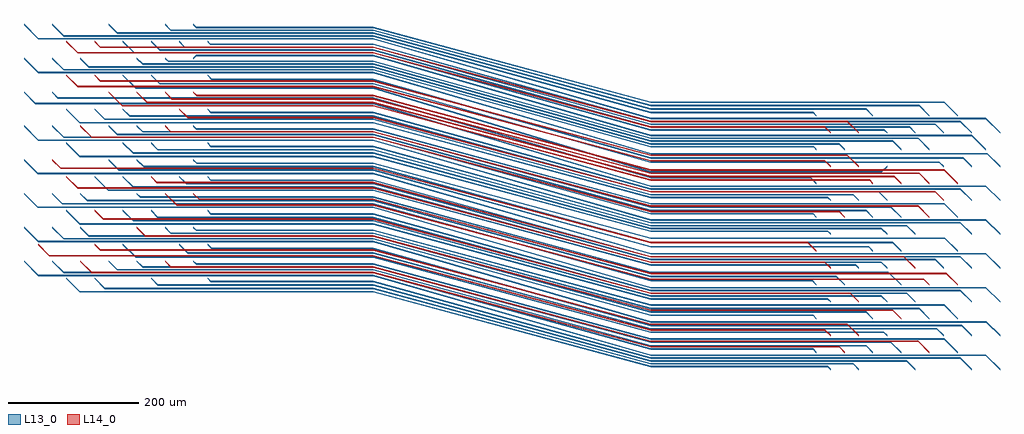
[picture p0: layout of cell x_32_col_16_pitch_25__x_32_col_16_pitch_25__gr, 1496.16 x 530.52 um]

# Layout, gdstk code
import gdstk
lib = gdstk.Library(unit=1e-6, precision=1e-09)
def R(c, l, rs):  # rectangles x0, y0, x1, y1
    for r in rs: c.add(gdstk.rectangle(r[:2], r[2:], *l))
def A(c, l, x, y, w, h, nx, ny, dx, dy):  # array of equal rectangles
    R(c, l, [(x+i*dx, y+j*dy, x+i*dx+w, y+j*dy+h) for i in range(nx) for j in range(ny)])
def P(c, l, *ps):  # polygons
    for p in ps: c.add(gdstk.Polygon(p, *l))
L13_0 = (13, 0)
L14_0 = (14, 0)

x_32_col_16_pitch_25__x_ = lib.new_cell('x_32_col_16_pitch_25__x_32_col_16_pitch_25__gr')
A(x_32_col_16_pitch_25__x_, L13_0, 2300, 1351.56, 271.46, 2, 1, 3, 0, 103.68)
A(x_32_col_16_pitch_25__x_, L13_0, 2300, 1360.2, 392.72, 2, 1, 3, 0, 103.68)
A(x_32_col_16_pitch_25__x_, L13_0, 2300, 1430.184, 248.946, 2, 1, 3, 0, 155.52)
A(x_32_col_16_pitch_25__x_, L13_0, 2300, 1435.368, 330.362, 2, 1, 3, 0, 155.52)
A(x_32_col_16_pitch_25__x_, L13_0, 2300, 1445.736, 449.894, 2, 1, 3, 0, 155.52)
A(x_32_col_16_pitch_25__x_, L13_0, 2300, 1459.56, 353.74, 2, 1, 3, 0, 51.84)
A(x_32_col_16_pitch_25__x_, L13_0, 1425.106, 1466.224, 449.894, 2, 1, 3, 0, 103.68)
A(x_32_col_16_pitch_25__x_, L13_0, 2300, 1468.2, 475, 2, 1, 4, 0, 51.84)
A(x_32_col_16_pitch_25__x_, L13_0, 2300, 1472.52, 513.982, 2, 1, 4, 0, 51.84)
A(x_32_col_16_pitch_25__x_, L13_0, 1544.638, 1476.592, 330.362, 2, 1, 3, 0, 103.68)
A(x_32_col_16_pitch_25__x_, L13_0, 1506.522, 1575.088, 368.478, 2, 1, 3, 0, 51.84)
A(x_32_col_16_pitch_25__x_, L13_0, 1626.054, 1585.456, 248.946, 2, 1, 4, 0, 51.84)
R(x_32_col_16_pitch_25__x_, L13_0, [(2300,1355.88,2610.44,1357.88), (2300,1364.52,2775,1366.52), (2300,1368.84,2813.982,1370.84), (2300,1378.344,2548.946,1380.344), (2300,1383.528,2630.362,1385.528), (2300,1388.712,2668.478,1390.712), (2300,1393.896,2749.894,1395.896), (2300,1404.264,2657.196,1406.264), (2300,1409.448,2738.612,1411.448), (2300,1414.632,2776.728,1416.632), (2300,1419.816,2814.846,1421.816), (2300,1440.552,2711.778,1442.552), (1463.222,1471.408,1875,1473.408), (1626.054,1481.776,1875,1483.776), (2300,1483.32,2547.65,1485.32), (2300,1489.8,2584.47,1491.8), (1361.017,1491.28,1875,1493.28), (1400,1495.6,1875,1497.6), (2300,1496.28,2664.59,1498.28), (1482.28,1499.92,1875,1501.92), (1521.26,1504.24,1875,1506.24), (2300,1507.08,2614.76,1509.08), (1603.54,1508.56,1875,1510.56), (2300,1515.72,2736.02,1517.72), (1510.41,1519.36,1875,1521.36), (1590.53,1525.84,1875,1527.84), (1627.35,1532.32,1875,1534.32), (2300,1535.16,2634.25,1537.16), (2300,1541.64,2671.07,1543.64), (1361.017,1543.12,1875,1545.12), (1400,1547.44,1875,1549.44), (2300,1548.12,2751.19,1550.12), (1438.98,1551.76,1875,1553.76), (1564.56,1556.08,1875,1558.08), (1603.54,1560.4,1875,1562.4), (1360.153,1595.824,1875,1597.824), (2300,1596.072,2668.478,1598.072), (1398.272,1601.008,1875,1603.008), (1436.388,1606.192,1875,1608.192), (2300,1610.76,2571.46,1612.76), (1517.804,1611.376,1875,1613.376), (2300,1615.08,2610.44,1617.08), (2300,1619.4,2649.42,1621.4), (1468.406,1621.744,1875,1623.744), (1587.938,1632.112,1875,1634.112), (2300,1641,2545.49,1643), (1360.153,1647.664,1875,1649.664), (2300,1649.64,2653.74,1651.64), (1484.872,1652.848,1875,1654.848), (1522.988,1658.032,1875,1660.032), (1604.404,1663.216,1875,1665.216), (2300,1664.76,2742.5,1666.76), (2300,1671.24,2779.32,1673.24), (2300,1677.72,2816.142,1679.72), (2300,1688.52,2549.81,1690.52), (2300,1692.84,2588.79,1694.84), (2300,1697.16,2671.07,1699.16), (1361.017,1698.64,1875,1700.64), (2300,1701.48,2710.05,1703.48), (1400,1702.96,1875,1704.96), (2300,1705.8,2792.332,1707.8), (1482.28,1707.28,1875,1709.28), (1521.26,1711.6,1875,1713.6), (2300,1714.44,2658.06,1716.44), (1603.54,1715.92,1875,1717.92), (2300,1718.76,2697.04,1720.76), (2300,1723.08,2736.02,1725.08), (1425.106,1725.424,1875,1727.424), (2300,1727.4,2775,1729.4), (1463.222,1730.608,1875,1732.608), (2300,1731.72,2813.982,1733.72), (1501.338,1735.792,1875,1737.792), (2300,1751.592,2711.778,1753.592), (1356.697,1754.8,1875,1756.8), (1391.36,1763.44,1875,1765.44), (1510.41,1778.56,1875,1780.56), (1547.23,1785.04,1875,1787.04), (1627.35,1791.52,1875,1793.52), (1361.017,1802.32,1875,1804.32), (1400,1806.64,1875,1808.64), (1438.98,1810.96,1875,1812.96), (1521.26,1815.28,1875,1817.28), (1560.24,1819.6,1875,1821.6), (1603.54,1828.24,1875,1830.24), (1508.25,1832.56,1875,1834.56), (1547.23,1836.88,1875,1838.88), (1586.21,1841.2,1875,1843.2), (1625.19,1845.52,1875,1847.52), (1361.017,1854.16,1875,1856.16), (1400,1858.48,1875,1860.48), (1482.28,1862.8,1875,1864.8), (1564.56,1867.12,1875,1869.12), (1603.54,1871.44,1875,1873.44)])
P(x_32_col_16_pitch_25__x_, L13_0, [(2554.13,1736.04),(2554.13,1738.04),(2548.946,1743.224),(2548.946,1741.224)],
  [(2300,1741.224),(2300,1743.224),(1875,1860.48),(1875,1858.48)],
  [(1400,1858.48),(1400,1860.48),(1382.72,1877.76),(1382.72,1875.76)],
  [(2640.73,1736.04),(2640.73,1738.04),(2630.362,1748.408),(2630.362,1746.408)],
  [(2300,1746.408),(2300,1748.408),(1875,1864.8),(1875,1862.8)],
  [(1482.28,1862.8),(1482.28,1864.8),(1469.32,1877.76),(1469.32,1875.76)],
  [(2727.33,1736.04),(2727.33,1738.04),(2711.778,1753.592),(2711.778,1751.592)],
  [(2300,1751.592),(2300,1753.592),(1875,1869.12),(1875,1867.12)],
  [(1564.56,1867.12),(1564.56,1869.12),(1555.92,1877.76),(1555.92,1875.76)],
  [(2770.63,1736.04),(2770.63,1738.04),(2749.894,1758.776),(2749.894,1756.776)],
  [(2300,1756.776),(2300,1758.776),(1875,1873.44),(1875,1871.44)],
  [(1603.54,1871.44),(1603.54,1873.44),(1599.22,1877.76),(1599.22,1875.76)],
  [(2662.38,1710.12),(2662.38,1712.12),(2658.06,1716.44),(2658.06,1714.44)],
  [(2300,1714.44),(2300,1716.44),(1875,1834.56),(1875,1832.56)],
  [(1508.25,1832.56),(1508.25,1834.56),(1490.97,1851.84),(1490.97,1849.84)],
  [(2705.68,1710.12),(2705.68,1712.12),(2697.04,1720.76),(2697.04,1718.76)],
  [(2300,1718.76),(2300,1720.76),(1875,1838.88),(1875,1836.88)],
  [(1547.23,1836.88),(1547.23,1838.88),(1534.27,1851.84),(1534.27,1849.84)],
  [(2748.98,1710.12),(2748.98,1712.12),(2736.02,1725.08),(2736.02,1723.08)],
  [(2300,1723.08),(2300,1725.08),(1875,1843.2),(1875,1841.2)],
  [(1586.21,1841.2),(1586.21,1843.2),(1577.57,1851.84),(1577.57,1849.84)],
  [(2792.28,1710.12),(2792.28,1712.12),(2775,1729.4),(2775,1727.4)],
  [(2300,1727.4),(2300,1729.4),(1875,1847.52),(1875,1845.52)],
  [(1625.19,1845.52),(1625.19,1847.52),(1620.87,1851.84),(1620.87,1849.84)],
  [(2835.582,1710.12),(2835.582,1712.12),(2813.982,1733.72),(2813.982,1731.72)],
  [(2300,1731.72),(2300,1733.72),(1875,1856.16),(1875,1854.16)],
  [(1361.017,1854.16),(1361.017,1856.16),(1339.417,1877.76),(1339.417,1875.76)],
  [(2554.13,1684.2),(2554.13,1686.2),(2549.81,1690.52),(2549.81,1688.52)],
  [(2300,1688.52),(2300,1690.52),(1875,1808.64),(1875,1806.64)],
  [(1400,1806.64),(1400,1808.64),(1382.72,1825.92),(1382.72,1823.92)],
  [(2597.43,1684.2),(2597.43,1686.2),(2588.79,1694.84),(2588.79,1692.84)],
  [(2300,1692.84),(2300,1694.84),(1875,1812.96),(1875,1810.96)],
  [(1438.98,1810.96),(1438.98,1812.96),(1426.02,1825.92),(1426.02,1823.92)],
  [(2684.03,1684.2),(2684.03,1686.2),(2671.07,1699.16),(2671.07,1697.16)],
  [(2300,1697.16),(2300,1699.16),(1875,1817.28),(1875,1815.28)],
  [(1521.26,1815.28),(1521.26,1817.28),(1512.62,1825.92),(1512.62,1823.92)],
  [(2727.33,1684.2),(2727.33,1686.2),(2710.05,1703.48),(2710.05,1701.48)],
  [(2300,1701.48),(2300,1703.48),(1875,1821.6),(1875,1819.6)],
  [(1560.24,1819.6),(1560.24,1821.6),(1555.92,1825.92),(1555.92,1823.92)],
  [(2813.932,1684.2),(2813.932,1686.2),(2792.332,1707.8),(2792.332,1705.8)],
  [(2300,1705.8),(2300,1707.8),(1875,1830.24),(1875,1828.24)],
  [(1603.54,1828.24),(1603.54,1830.24),(1599.22,1825.92),(1599.22,1823.92)],
  [(2662.38,1658.28),(2662.38,1660.28),(2653.74,1651.64),(2653.74,1649.64)],
  [(2300,1649.64),(2300,1651.64),(1875,1780.56),(1875,1778.56)],
  [(1510.41,1778.56),(1510.41,1780.56),(1490.97,1800),(1490.97,1798)],
  [(2748.98,1658.28),(2748.98,1660.28),(2742.5,1666.76),(2742.5,1664.76)],
  [(2300,1664.76),(2300,1666.76),(1875,1787.04),(1875,1785.04)],
  [(1547.23,1785.04),(1547.23,1787.04),(1534.27,1800),(1534.27,1798)],
  [(2792.28,1658.28),(2792.28,1660.28),(2779.32,1673.24),(2779.32,1671.24)],
  [(2300,1671.24),(2300,1673.24),(1875,1793.52),(1875,1791.52)],
  [(1627.35,1791.52),(1627.35,1793.52),(1620.87,1800),(1620.87,1798)],
  [(2835.582,1658.28),(2835.582,1660.28),(2816.142,1679.72),(2816.142,1677.72)],
  [(2300,1677.72),(2300,1679.72),(1875,1804.32),(1875,1802.32)],
  [(1361.017,1802.32),(1361.017,1804.32),(1339.417,1825.92),(1339.417,1823.92)],
  [(2554.13,1632.36),(2554.13,1634.36),(2545.49,1643),(2545.49,1641)],
  [(2300,1641),(2300,1643),(1875,1765.44),(1875,1763.44)],
  [(1391.36,1763.44),(1391.36,1765.44),(1382.72,1774.08),(1382.72,1772.08)],
  [(2575.78,1606.44),(2575.78,1608.44),(2571.46,1612.76),(2571.46,1610.76)],
  [(2300,1610.76),(2300,1612.76),(1875,1727.424),(1875,1725.424)],
  [(1425.106,1725.424),(1425.106,1727.424),(1404.37,1748.16),(1404.37,1746.16)],
  [(2619.08,1606.44),(2619.08,1608.44),(2610.44,1617.08),(2610.44,1615.08)],
  [(2300,1615.08),(2300,1617.08),(1875,1732.608),(1875,1730.608)],
  [(1463.222,1730.608),(1463.222,1732.608),(1447.67,1748.16),(1447.67,1746.16)],
  [(2662.38,1606.44),(2662.38,1608.44),(2649.42,1621.4),(2649.42,1619.4)],
  [(2300,1619.4),(2300,1621.4),(1875,1737.792),(1875,1735.792)],
  [(1501.338,1735.792),(1501.338,1737.792),(1490.97,1748.16),(1490.97,1746.16)],
  [(2792.28,1606.44),(2792.28,1608.44),(2775,1625.72),(2775,1623.72)],
  [(2300,1623.72),(2300,1625.72),(1875,1742.976),(1875,1740.976)],
  [(1626.054,1740.976),(1626.054,1742.976),(1620.87,1748.16),(1620.87,1746.16)],
  [(2835.582,1606.44),(2835.582,1608.44),(2813.982,1630.04),(2813.982,1628.04)],
  [(2300,1628.04),(2300,1630.04),(1875,1756.8),(1875,1754.8)],
  [(1356.697,1754.8),(1356.697,1756.8),(1339.417,1774.08),(1339.417,1772.08)],
  [(2554.13,1580.52),(2554.13,1582.52),(2548.946,1587.704),(2548.946,1585.704)],
  [(2300,1585.704),(2300,1587.704),(1875,1704.96),(1875,1702.96)],
  [(1400,1702.96),(1400,1704.96),(1382.72,1722.24),(1382.72,1720.24)],
  [(2640.73,1580.52),(2640.73,1582.52),(2630.362,1592.888),(2630.362,1590.888)],
  [(2300,1590.888),(2300,1592.888),(1875,1709.28),(1875,1707.28)],
  [(1482.28,1707.28),(1482.28,1709.28),(1469.32,1722.24),(1469.32,1720.24)],
  [(2684.03,1580.52),(2684.03,1582.52),(2668.478,1598.072),(2668.478,1596.072)],
  [(2300,1596.072),(2300,1598.072),(1875,1713.6),(1875,1711.6)],
  [(1521.26,1711.6),(1521.26,1713.6),(1512.62,1722.24),(1512.62,1720.24)],
  [(2770.63,1580.52),(2770.63,1582.52),(2749.894,1603.256),(2749.894,1601.256)],
  [(2300,1601.256),(2300,1603.256),(1875,1717.92),(1875,1715.92)],
  [(1603.54,1715.92),(1603.54,1717.92),(1599.22,1722.24),(1599.22,1720.24)],
  [(2575.78,1554.6),(2575.78,1556.6),(2571.46,1560.92),(2571.46,1558.92)],
  [(2300,1558.92),(2300,1560.92),(1875,1675.584),(1875,1673.584)],
  [(1425.106,1673.584),(1425.106,1675.584),(1404.37,1696.32),(1404.37,1694.32)],
  [(2662.38,1554.6),(2662.38,1556.6),(2653.74,1565.24),(2653.74,1563.24)],
  [(2300,1563.24),(2300,1565.24),(1875,1680.768),(1875,1678.768)],
  [(1506.522,1678.768),(1506.522,1680.768),(1490.97,1696.32),(1490.97,1694.32)],
  [(2705.68,1554.6),(2705.68,1556.6),(2692.72,1569.56),(2692.72,1567.56)],
  [(2300,1567.56),(2300,1569.56),(1875,1685.952),(1875,1683.952)],
  [(1544.638,1683.952),(1544.638,1685.952),(1534.27,1696.32),(1534.27,1694.32)],
  [(2792.28,1554.6),(2792.28,1556.6),(2775,1573.88),(2775,1571.88)],
  [(2300,1571.88),(2300,1573.88),(1875,1691.136),(1875,1689.136)],
  [(1626.054,1689.136),(1626.054,1691.136),(1620.87,1696.32),(1620.87,1694.32)],
  [(2835.582,1554.6),(2835.582,1556.6),(2813.982,1578.2),(2813.982,1576.2)],
  [(2300,1576.2),(2300,1578.2),(1875,1700.64),(1875,1698.64)],
  [(1361.017,1698.64),(1361.017,1700.64),(1339.417,1722.24),(1339.417,1720.24)],
  [(2640.73,1528.68),(2640.73,1530.68),(2634.25,1537.16),(2634.25,1535.16)],
  [(2300,1535.16),(2300,1537.16),(1875,1654.848),(1875,1652.848)],
  [(1484.872,1652.848),(1484.872,1654.848),(1469.32,1670.4),(1469.32,1668.4)],
  [(2684.03,1528.68),(2684.03,1530.68),(2671.07,1543.64),(2671.07,1541.64)],
  [(2300,1541.64),(2300,1543.64),(1875,1660.032),(1875,1658.032)],
  [(1522.988,1658.032),(1522.988,1660.032),(1512.62,1670.4),(1512.62,1668.4)],
  [(2770.63,1528.68),(2770.63,1530.68),(2751.19,1550.12),(2751.19,1548.12)],
  [(2300,1548.12),(2300,1550.12),(1875,1665.216),(1875,1663.216)],
  [(1604.404,1663.216),(1604.404,1665.216),(1599.22,1670.4),(1599.22,1668.4)],
  [(2619.08,1502.76),(2619.08,1504.76),(2614.76,1509.08),(2614.76,1507.08)],
  [(2300,1507.08),(2300,1509.08),(1875,1623.744),(1875,1621.744)],
  [(1468.406,1621.744),(1468.406,1623.744),(1447.67,1644.48),(1447.67,1642.48)],
  [(2662.38,1502.76),(2662.38,1504.76),(2653.74,1513.4),(2653.74,1511.4)],
  [(2300,1511.4),(2300,1513.4),(1875,1628.928),(1875,1626.928)],
  [(1506.522,1626.928),(1506.522,1628.928),(1490.97,1644.48),(1490.97,1642.48)],
  [(2748.98,1502.76),(2748.98,1504.76),(2736.02,1517.72),(2736.02,1515.72)],
  [(2300,1515.72),(2300,1517.72),(1875,1634.112),(1875,1632.112)],
  [(1587.938,1632.112),(1587.938,1634.112),(1577.57,1644.48),(1577.57,1642.48)],
  [(2792.28,1502.76),(2792.28,1504.76),(2775,1522.04),(2775,1520.04)],
  [(2300,1520.04),(2300,1522.04),(1875,1639.296),(1875,1637.296)],
  [(1626.054,1637.296),(1626.054,1639.296),(1620.87,1644.48),(1620.87,1642.48)],
  [(2835.582,1502.76),(2835.582,1504.76),(2813.982,1526.36),(2813.982,1524.36)],
  [(2300,1524.36),(2300,1526.36),(1875,1649.664),(1875,1647.664)],
  [(1360.153,1647.664),(1360.153,1649.664),(1339.417,1670.4),(1339.417,1668.4)],
  [(2554.13,1476.84),(2554.13,1478.84),(2547.65,1485.32),(2547.65,1483.32)],
  [(2300,1483.32),(2300,1485.32),(1875,1603.008),(1875,1601.008)],
  [(1398.272,1601.008),(1398.272,1603.008),(1382.72,1618.56),(1382.72,1616.56)],
  [(2597.43,1476.84),(2597.43,1478.84),(2584.47,1491.8),(2584.47,1489.8)],
  [(2300,1489.8),(2300,1491.8),(1875,1608.192),(1875,1606.192)],
  [(1436.388,1606.192),(1436.388,1608.192),(1426.02,1618.56),(1426.02,1616.56)],
  [(2684.03,1476.84),(2684.03,1478.84),(2664.59,1498.28),(2664.59,1496.28)],
  [(2300,1496.28),(2300,1498.28),(1875,1613.376),(1875,1611.376)],
  [(1517.804,1611.376),(1517.804,1613.376),(1512.62,1618.56),(1512.62,1616.56)],
  [(2575.78,1450.92),(2575.78,1452.92),(2571.46,1457.24),(2571.46,1455.24)],
  [(2300,1455.24),(2300,1457.24),(1875,1571.904),(1875,1569.904)],
  [(1425.106,1569.904),(1425.106,1571.904),(1404.37,1592.64),(1404.37,1590.64)],
  [(2662.38,1450.92),(2662.38,1452.92),(2653.74,1461.56),(2653.74,1459.56)],
  [(2300,1459.56),(2300,1461.56),(1875,1577.088),(1875,1575.088)],
  [(1506.522,1575.088),(1506.522,1577.088),(1490.97,1592.64),(1490.97,1590.64)],
  [(2705.68,1450.92),(2705.68,1452.92),(2692.72,1465.88),(2692.72,1463.88)],
  [(2300,1463.88),(2300,1465.88),(1875,1582.272),(1875,1580.272)],
  [(1544.638,1580.272),(1544.638,1582.272),(1534.27,1592.64),(1534.27,1590.64)],
  [(2792.28,1450.92),(2792.28,1452.92),(2775,1470.2),(2775,1468.2)],
  [(2300,1468.2),(2300,1470.2),(1875,1587.456),(1875,1585.456)],
  [(1626.054,1585.456),(1626.054,1587.456),(1620.87,1592.64),(1620.87,1590.64)],
  [(2835.582,1450.92),(2835.582,1452.92),(2813.982,1474.52),(2813.982,1472.52)],
  [(2300,1472.52),(2300,1474.52),(1875,1597.824),(1875,1595.824)],
  [(1360.153,1595.824),(1360.153,1597.824),(1339.417,1618.56),(1339.417,1616.56)],
  [(2554.13,1425),(2554.13,1427),(2548.946,1432.184),(2548.946,1430.184)],
  [(2300,1430.184),(2300,1432.184),(1875,1549.44),(1875,1547.44)],
  [(1400,1547.44),(1400,1549.44),(1382.72,1566.72),(1382.72,1564.72)],
  [(2640.73,1425),(2640.73,1427),(2630.362,1437.368),(2630.362,1435.368)],
  [(2300,1435.368),(2300,1437.368),(1875,1553.76),(1875,1551.76)],
  [(1438.98,1551.76),(1438.98,1553.76),(1426.02,1566.72),(1426.02,1564.72)],
  [(2727.33,1425),(2727.33,1427),(2711.778,1442.552),(2711.778,1440.552)],
  [(2300,1440.552),(2300,1442.552),(1875,1558.08),(1875,1556.08)],
  [(1564.56,1556.08),(1564.56,1558.08),(1555.92,1566.72),(1555.92,1564.72)],
  [(2770.63,1425),(2770.63,1427),(2749.894,1447.736),(2749.894,1445.736)],
  [(2300,1445.736),(2300,1447.736),(1875,1562.4),(1875,1560.4)],
  [(1603.54,1560.4),(1603.54,1562.4),(1599.22,1566.72),(1599.22,1564.72)],
  [(2662.38,1399.08),(2662.38,1401.08),(2657.196,1406.264),(2657.196,1404.264)],
  [(2300,1404.264),(2300,1406.264),(1875,1521.36),(1875,1519.36)],
  [(1510.41,1519.36),(1510.41,1521.36),(1490.97,1540.8),(1490.97,1538.8)],
  [(2748.98,1399.08),(2748.98,1401.08),(2738.612,1411.448),(2738.612,1409.448)],
  [(2300,1409.448),(2300,1411.448),(1875,1527.84),(1875,1525.84)],
  [(1590.53,1525.84),(1590.53,1527.84),(1577.57,1540.8),(1577.57,1538.8)],
  [(2792.28,1399.08),(2792.28,1401.08),(2776.728,1416.632),(2776.728,1414.632)],
  [(2300,1414.632),(2300,1416.632),(1875,1534.32),(1875,1532.32)],
  [(1627.35,1532.32),(1627.35,1534.32),(1620.87,1540.8),(1620.87,1538.8)],
  [(2835.582,1399.08),(2835.582,1401.08),(2814.846,1421.816),(2814.846,1419.816)],
  [(2300,1419.816),(2300,1421.816),(1875,1545.12),(1875,1543.12)],
  [(1361.017,1543.12),(1361.017,1545.12),(1339.417,1566.72),(1339.417,1564.72)],
  [(2554.13,1373.16),(2554.13,1375.16),(2548.946,1380.344),(2548.946,1378.344)],
  [(2300,1378.344),(2300,1380.344),(1875,1497.6),(1875,1495.6)],
  [(1400,1495.6),(1400,1497.6),(1382.72,1514.88),(1382.72,1512.88)],
  [(2640.73,1373.16),(2640.73,1375.16),(2630.362,1385.528),(2630.362,1383.528)],
  [(2300,1383.528),(2300,1385.528),(1875,1501.92),(1875,1499.92)],
  [(1482.28,1499.92),(1482.28,1501.92),(1469.32,1514.88),(1469.32,1512.88)],
  [(2684.03,1373.16),(2684.03,1375.16),(2668.478,1390.712),(2668.478,1388.712)],
  [(2300,1388.712),(2300,1390.712),(1875,1506.24),(1875,1504.24)],
  [(1521.26,1504.24),(1521.26,1506.24),(1512.62,1514.88),(1512.62,1512.88)],
  [(2770.63,1373.16),(2770.63,1375.16),(2749.894,1395.896),(2749.894,1393.896)],
  [(2300,1393.896),(2300,1395.896),(1875,1510.56),(1875,1508.56)],
  [(1603.54,1508.56),(1603.54,1510.56),(1599.22,1514.88),(1599.22,1512.88)],
  [(2575.78,1347.24),(2575.78,1349.24),(2571.46,1353.56),(2571.46,1351.56)],
  [(2300,1351.56),(2300,1353.56),(1875,1468.224),(1875,1466.224)],
  [(1425.106,1466.224),(1425.106,1468.224),(1404.37,1488.96),(1404.37,1486.96)],
  [(2619.08,1347.24),(2619.08,1349.24),(2610.44,1357.88),(2610.44,1355.88)],
  [(2300,1355.88),(2300,1357.88),(1875,1473.408),(1875,1471.408)],
  [(1463.222,1471.408),(1463.222,1473.408),(1447.67,1488.96),(1447.67,1486.96)],
  [(2705.68,1347.24),(2705.68,1349.24),(2692.72,1362.2),(2692.72,1360.2)],
  [(2300,1360.2),(2300,1362.2),(1875,1478.592),(1875,1476.592)],
  [(1544.638,1476.592),(1544.638,1478.592),(1534.27,1488.96),(1534.27,1486.96)],
  [(2792.28,1347.24),(2792.28,1349.24),(2775,1366.52),(2775,1364.52)],
  [(2300,1364.52),(2300,1366.52),(1875,1483.776),(1875,1481.776)],
  [(1626.054,1481.776),(1626.054,1483.776),(1620.87,1488.96),(1620.87,1486.96)],
  [(2835.582,1347.24),(2835.582,1349.24),(2813.982,1370.84),(2813.982,1368.84)],
  [(2300,1368.84),(2300,1370.84),(1875,1493.28),(1875,1491.28)],
  [(1361.017,1491.28),(1361.017,1493.28),(1339.417,1514.88),(1339.417,1512.88)])
R(x_32_col_16_pitch_25__x_, L14_0, [(2300,1381.8,2588.79,1383.8), (2300,1390.44,2710.05,1392.44), (2300,1407.72,2567.14,1409.72), (2300,1416.36,2601.8,1418.36), (2300,1437.96,2671.07,1439.96), (2300,1463.88,2606.12,1465.88), (2300,1485.48,2718.69,1487.48), (2300,1494.12,2753.35,1496.12), (1443.3,1495.6,1875,1497.6), (1564.56,1504.24,1875,1506.24), (2300,1511.4,2567.14,1513.4), (2300,1520.04,2688.4,1522.04), (1378.347,1521.52,1875,1523.52), (1456.31,1530.16,1875,1532.16), (2300,1541.64,2541.17,1543.64), (1525.58,1551.76,1875,1553.76), (1460.63,1577.68,1875,1579.68), (2300,1589.16,2588.79,1591.16), (2300,1597.8,2710.05,1599.8), (1573.2,1599.28,1875,1601.28), (1607.86,1607.92,1875,1609.92), (2300,1619.4,2736.02,1621.4), (1421.65,1625.2,1875,1627.2), (1542.91,1633.84,1875,1635.84), (2300,1637.544,2635.546,1639.544), (2300,1642.728,2673.662,1644.728), (2300,1647.912,2711.778,1649.912), (2300,1653.096,2749.894,1655.096), (1395.68,1655.44,1875,1657.44), (2300,1666.92,2567.14,1668.92), (2300,1675.56,2601.8,1677.56), (1443.3,1702.96,1875,1704.96), (1564.56,1711.6,1875,1713.6), (2300,1718.76,2567.14,1720.76), (2300,1727.4,2601.8,1729.4), (1590.53,1733.2,1875,1735.2), (1490.056,1751.344,1875,1753.344), (1528.172,1756.528,1875,1758.528), (1566.288,1761.712,1875,1763.712), (1604.404,1766.896,1875,1768.896), (1421.65,1780.72,1875,1782.72), (1456.31,1789.36,1875,1791.36), (1421.65,1832.56,1875,1834.56), (1456.31,1841.2,1875,1843.2)])
P(x_32_col_16_pitch_25__x_, L14_0, [(2575.78,1710.12),(2575.78,1712.12),(2567.14,1720.76),(2567.14,1718.76)],
  [(2300,1718.76),(2300,1720.76),(1875,1834.56),(1875,1832.56)],
  [(1421.65,1832.56),(1421.65,1834.56),(1404.37,1851.84),(1404.37,1849.84)],
  [(2619.08,1710.12),(2619.08,1712.12),(2601.8,1729.4),(2601.8,1727.4)],
  [(2300,1727.4),(2300,1729.4),(1875,1843.2),(1875,1841.2)],
  [(1456.31,1841.2),(1456.31,1843.2),(1447.67,1851.84),(1447.67,1849.84)],
  [(2575.78,1658.28),(2575.78,1660.28),(2567.14,1668.92),(2567.14,1666.92)],
  [(2300,1666.92),(2300,1668.92),(1875,1782.72),(1875,1780.72)],
  [(1421.65,1780.72),(1421.65,1782.72),(1404.37,1800),(1404.37,1798)],
  [(2619.08,1658.28),(2619.08,1660.28),(2601.8,1677.56),(2601.8,1675.56)],
  [(2300,1675.56),(2300,1677.56),(1875,1791.36),(1875,1789.36)],
  [(1456.31,1789.36),(1456.31,1791.36),(1447.67,1800),(1447.67,1798)],
  [(2640.73,1632.36),(2640.73,1634.36),(2635.546,1639.544),(2635.546,1637.544)],
  [(2300,1637.544),(2300,1639.544),(1875,1753.344),(1875,1751.344)],
  [(1490.056,1751.344),(1490.056,1753.344),(1469.32,1774.08),(1469.32,1772.08)],
  [(2684.03,1632.36),(2684.03,1634.36),(2673.662,1644.728),(2673.662,1642.728)],
  [(2300,1642.728),(2300,1644.728),(1875,1758.528),(1875,1756.528)],
  [(1528.172,1756.528),(1528.172,1758.528),(1512.62,1774.08),(1512.62,1772.08)],
  [(2727.33,1632.36),(2727.33,1634.36),(2711.778,1649.912),(2711.778,1647.912)],
  [(2300,1647.912),(2300,1649.912),(1875,1763.712),(1875,1761.712)],
  [(1566.288,1761.712),(1566.288,1763.712),(1555.92,1774.08),(1555.92,1772.08)],
  [(2770.63,1632.36),(2770.63,1634.36),(2749.894,1655.096),(2749.894,1653.096)],
  [(2300,1653.096),(2300,1655.096),(1875,1768.896),(1875,1766.896)],
  [(1604.404,1766.896),(1604.404,1768.896),(1599.22,1774.08),(1599.22,1772.08)],
  [(2748.98,1606.44),(2748.98,1608.44),(2736.02,1621.4),(2736.02,1619.4)],
  [(2300,1619.4),(2300,1621.4),(1875,1735.2),(1875,1733.2)],
  [(1590.53,1733.2),(1590.53,1735.2),(1577.57,1748.16),(1577.57,1746.16)],
  [(2597.43,1580.52),(2597.43,1582.52),(2588.79,1591.16),(2588.79,1589.16)],
  [(2300,1589.16),(2300,1591.16),(1875,1704.96),(1875,1702.96)],
  [(1443.3,1702.96),(1443.3,1704.96),(1426.02,1722.24),(1426.02,1720.24)],
  [(2727.33,1580.52),(2727.33,1582.52),(2710.05,1599.8),(2710.05,1597.8)],
  [(2300,1597.8),(2300,1599.8),(1875,1713.6),(1875,1711.6)],
  [(1564.56,1711.6),(1564.56,1713.6),(1555.92,1722.24),(1555.92,1720.24)],
  [(2554.13,1528.68),(2554.13,1530.68),(2541.17,1543.64),(2541.17,1541.64)],
  [(2300,1541.64),(2300,1543.64),(1875,1657.44),(1875,1655.44)],
  [(1395.68,1655.44),(1395.68,1657.44),(1382.72,1670.4),(1382.72,1668.4)],
  [(2575.78,1502.76),(2575.78,1504.76),(2567.14,1513.4),(2567.14,1511.4)],
  [(2300,1511.4),(2300,1513.4),(1875,1627.2),(1875,1625.2)],
  [(1421.65,1625.2),(1421.65,1627.2),(1404.37,1644.48),(1404.37,1642.48)],
  [(2705.68,1502.76),(2705.68,1504.76),(2688.4,1522.04),(2688.4,1520.04)],
  [(2300,1520.04),(2300,1522.04),(1875,1635.84),(1875,1633.84)],
  [(1542.91,1633.84),(1542.91,1635.84),(1534.27,1644.48),(1534.27,1642.48)],
  [(2727.33,1476.84),(2727.33,1478.84),(2718.69,1487.48),(2718.69,1485.48)],
  [(2300,1485.48),(2300,1487.48),(1875,1601.28),(1875,1599.28)],
  [(1573.2,1599.28),(1573.2,1601.28),(1555.92,1618.56),(1555.92,1616.56)],
  [(2770.63,1476.84),(2770.63,1478.84),(2753.35,1496.12),(2753.35,1494.12)],
  [(2300,1494.12),(2300,1496.12),(1875,1609.92),(1875,1607.92)],
  [(1607.86,1607.92),(1607.86,1609.92),(1599.22,1618.56),(1599.22,1616.56)],
  [(2619.08,1450.92),(2619.08,1452.92),(2606.12,1465.88),(2606.12,1463.88)],
  [(2300,1463.88),(2300,1465.88),(1875,1579.68),(1875,1577.68)],
  [(1460.63,1577.68),(1460.63,1579.68),(1447.67,1592.64),(1447.67,1590.64)],
  [(2684.03,1425),(2684.03,1427),(2671.07,1439.96),(2671.07,1437.96)],
  [(2300,1437.96),(2300,1439.96),(1875,1553.76),(1875,1551.76)],
  [(1525.58,1551.76),(1525.58,1553.76),(1512.62,1566.72),(1512.62,1564.72)],
  [(2575.78,1399.08),(2575.78,1401.08),(2567.14,1409.72),(2567.14,1407.72)],
  [(2300,1407.72),(2300,1409.72),(1875,1523.52),(1875,1521.52)],
  [(1378.347,1521.52),(1378.347,1523.52),(1361.067,1540.8),(1361.067,1538.8)],
  [(2619.08,1399.08),(2619.08,1401.08),(2601.8,1418.36),(2601.8,1416.36)],
  [(2300,1416.36),(2300,1418.36),(1875,1532.16),(1875,1530.16)],
  [(1456.31,1530.16),(1456.31,1532.16),(1447.67,1540.8),(1447.67,1538.8)],
  [(2597.43,1373.16),(2597.43,1375.16),(2588.79,1383.8),(2588.79,1381.8)],
  [(2300,1381.8),(2300,1383.8),(1875,1497.6),(1875,1495.6)],
  [(1443.3,1495.6),(1443.3,1497.6),(1426.02,1514.88),(1426.02,1512.88)],
  [(2727.33,1373.16),(2727.33,1375.16),(2710.05,1392.44),(2710.05,1390.44)],
  [(2300,1390.44),(2300,1392.44),(1875,1506.24),(1875,1504.24)],
  [(1564.56,1504.24),(1564.56,1506.24),(1555.92,1514.88),(1555.92,1512.88)])

lib.write_gds('x_32_col_16_pitch_25__x_32_col_16_pitch_25__gr.gds')
